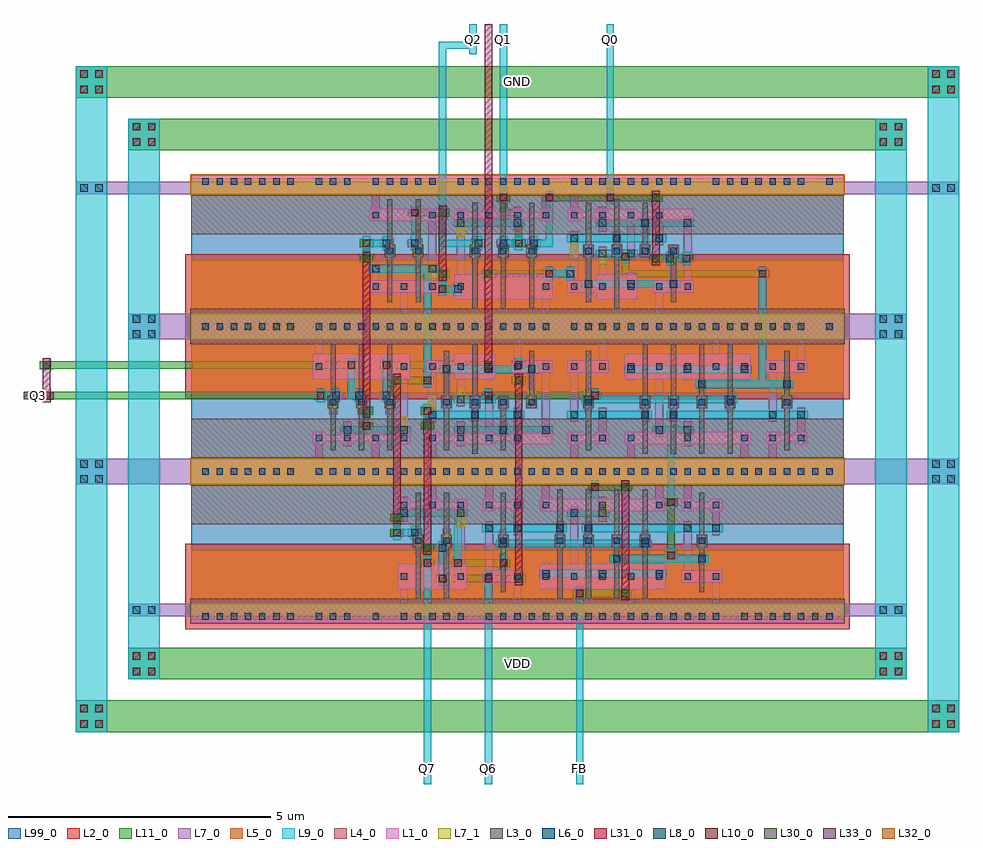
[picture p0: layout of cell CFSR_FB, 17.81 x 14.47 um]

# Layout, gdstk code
from math import pi, radians
import gdstk
lib = gdstk.Library(unit=1e-6, precision=5e-10)
def R(c, l, rs):  # rectangles x0, y0, x1, y1
    for r in rs: c.add(gdstk.rectangle(r[:2], r[2:], *l))
def A(c, l, x, y, w, h, nx, ny, dx, dy):  # array of equal rectangles
    R(c, l, [(x+i*dx, y+j*dy, x+i*dx+w, y+j*dy+h) for i in range(nx) for j in range(ny)])
L1_0 = (1, 0)
L2_0 = (2, 0)
L3_0 = (3, 0)
L4_0 = (4, 0)
L5_0 = (5, 0)
L6_0 = (6, 0)
L7_0 = (7, 0)
L7_1 = (7, 1)
L8_0 = (8, 0)
L9_0 = (9, 0)
L10_0 = (10, 0)
L11_0 = (11, 0)
L30_0 = (30, 0)
L31_0 = (31, 0)
L32_0 = (32, 0)
L33_0 = (33, 0)
L99_0 = (99, 0)

xor2_tg6 = lib.new_cell('XOR2_TG6')
A(xor2_tg6, L1_0, 0.15, 0.52, 0.24, 0.24, 5, 1, 0.54, 0)
R(xor2_tg6, L1_0, [(0,-0.12,2.7,0.24), (0.39,0.52,0.69,0.76), (1.47,0.52,1.77,0.76), (0.93,0.58,1.23,0.7), (2.01,0.58,2.31,0.7), (1.23,1.76,1.47,2.24), (1.47,1.76,1.77,2.24), (1.77,1.76,2.01,2.24), (0.15,1.88,0.39,2.12), (0.39,1.88,0.69,2.12), (0.69,1.88,0.93,2.12), (2.01,1.88,2.31,2.12), (2.31,1.88,2.55,2.12), (0,2.52,2.7,2.88)])
R(xor2_tg6, L2_0, [(-0.12,1.38,2.82,3)])
A(xor2_tg6, L3_0, 0.44, 1.2, 0.2, 0.24, 4, 1, 0.54, 0)
R(xor2_tg6, L3_0, [(1.57,0.34,1.67,2.42), (1.03,0.4,1.13,1.44), (2.11,0.4,2.21,2.3), (0.49,1.2,0.59,2.3)])
R(xor2_tg6, L4_0, [(0,0.26,2.7,1), (-0.02,2.42,2.72,2.9)])
R(xor2_tg6, L5_0, [(-0.02,-0.14,2.72,0.26), (0,1.5,2.7,2.42)])
A(xor2_tg6, L6_0, 0.21, -0.06, 0.12, 0.12, 9, 2, 0.27, 2.76)
A(xor2_tg6, L6_0, 0.75, 0.58, 0.12, 0.12, 4, 1, 0.54, 0)
A(xor2_tg6, L6_0, 0.48, 1.26, 0.12, 0.12, 4, 1, 0.54, 0)
A(xor2_tg6, L6_0, 0.21, 1.94, 0.12, 0.12, 5, 1, 0.54, 0)
R(xor2_tg6, L7_0, [(0,-0.06,2.7,0.24), (2.355,0,2.505,0.76), (1.815,0.48,1.965,0.96), (0.735,0.52,0.885,1.21), (1.275,0.52,1.425,1.5), (0.195,0.66,0.345,2.12), (1.005,0.66,1.155,1.44), (1.545,0.95,1.695,1.44), (2.355,0.95,2.505,2.12), (0.465,1.2,0.615,2.08), (2.085,1.2,2.235,2.08), (1.815,1.24,1.965,2.12), (1.275,1.73,1.425,2.21), (0.735,1.88,0.885,2.76), (0,2.52,2.7,2.82)])
R(xor2_tg6, L7_1, [(0,0,2.7,0.24), (2.355,1.19,2.505,1.46), (0.465,1.3,0.615,1.57), (1.815,1.3,1.965,1.57), (0,2.52,2.7,2.76)])
A(xor2_tg6, L8_0, 0.2, 0.72, 0.14, 0.14, 3, 1, 0.81, 0)
A(xor2_tg6, L8_0, 0.74, 1.01, 0.14, 0.14, 3, 1, 0.81, 0)
A(xor2_tg6, L8_0, 0.47, 1.88, 0.14, 0.14, 3, 1, 0.81, 0)
R(xor2_tg6, L8_0, [(1.28,1.3,1.42,1.44), (1.82,1.3,1.96,1.44)])
R(xor2_tg6, L9_0, [(0.14,0.715,2.02,0.865), (0.68,1.005,2.56,1.155), (1.22,1.295,2.02,1.445), (0.41,1.875,2.29,2.025)])
R(xor2_tg6, L99_0, [(0,0,2.7,2.76)])
xor2_tg6.add(gdstk.Label('Y', (1.89,1.435), layer=7, texttype=3))
xor2_tg6.add(gdstk.Label('B', (2.43,1.325), layer=7, texttype=3))
xor2_tg6.add(gdstk.Label('A', (0.54,1.435), layer=7, texttype=3))
xor2_tg6.add(gdstk.Label('VDD', (1.35,2.64), layer=7, texttype=3))
xor2_tg6.add(gdstk.Label('GND', (1.35,0.12), layer=7, texttype=3))

xor2_x1 = lib.new_cell('XOR2_X1')
A(xor2_x1, L1_0, 0.15, 0.52, 0.24, 0.24, 9, 1, 0.54, 0)
A(xor2_x1, L1_0, 1.47, 0.52, 0.3, 0.24, 4, 1, 0.54, 0)
A(xor2_x1, L1_0, 1.23, 1.76, 0.24, 0.48, 5, 1, 0.54, 0)
A(xor2_x1, L1_0, 1.47, 1.76, 0.3, 0.48, 4, 1, 0.54, 0)
R(xor2_x1, L1_0, [(0,-0.12,4.86,0.24), (0.39,0.58,0.69,0.7), (4.17,0.58,4.47,0.7), (0.15,1.88,0.39,2.12), (0.39,1.88,0.69,2.12), (0.69,1.88,0.93,2.12), (3.93,1.88,4.17,2.12), (4.17,1.88,4.47,2.12), (4.47,1.88,4.71,2.12), (0,2.52,4.86,2.88)])
R(xor2_x1, L2_0, [(-0.12,1.38,4.98,3)])
A(xor2_x1, L3_0, 1.57, 0.34, 0.1, 2.08, 4, 1, 0.54, 0)
A(xor2_x1, L3_0, 1.52, 1.2, 0.2, 0.24, 4, 1, 0.54, 0)
R(xor2_x1, L3_0, [(0.49,0.4,0.59,2.3), (4.27,0.4,4.37,2.3), (0.44,1.2,0.64,1.44), (4.22,1.2,4.42,1.44)])
R(xor2_x1, L4_0, [(0,0.26,4.86,1), (-0.02,2.42,4.88,2.9)])
R(xor2_x1, L5_0, [(-0.02,-0.14,4.88,0.26), (0,1.5,4.86,2.42)])
A(xor2_x1, L6_0, 0.21, -0.06, 0.12, 0.12, 17, 2, 0.27, 2.76)
A(xor2_x1, L6_0, 0.21, 0.58, 0.12, 0.12, 3, 1, 0.54, 0)
A(xor2_x1, L6_0, 3.45, 0.58, 0.12, 0.12, 3, 1, 0.54, 0)
A(xor2_x1, L6_0, 1.56, 1.26, 0.12, 0.12, 4, 1, 0.54, 0)
A(xor2_x1, L6_0, 0.21, 1.94, 0.12, 0.12, 9, 1, 0.54, 0)
R(xor2_x1, L6_0, [(2.37,0.58,2.49,0.7), (0.48,1.26,0.6,1.38), (4.26,1.26,4.38,1.38)])
A(xor2_x1, L7_0, 1.275, 1.73, 0.15, 0.48, 3, 1, 1.08, 0)
R(xor2_x1, L7_0, [(0,-0.06,4.86,0.24), (0.195,0,0.345,0.76), (1.275,0,1.425,0.76), (3.435,0,3.585,0.76), (3.975,0,4.125,0.76), (2.355,0.48,2.505,0.96), (0.735,0.52,0.885,1.21), (4.515,0.52,4.665,1.21), (1.815,0.66,1.965,2.12), (0.195,0.95,0.345,2.12), (1.545,0.95,1.695,1.44), (2.085,0.95,2.235,1.44), (3.975,0.95,4.125,2.12), (0.465,1.11,0.615,1.59), (3.165,1.11,3.315,1.59), (2.625,1.2,2.775,1.79), (4.245,1.2,4.395,1.79), (0.735,1.88,0.885,2.76), (2.895,1.88,3.045,2.76), (4.515,1.88,4.665,2.76), (0,2.52,4.86,2.82)])
R(xor2_x1, L7_1, [(0,0,4.86,0.24), (2.355,0.59,2.505,0.86), (0.465,1.3,0.615,1.57), (4.245,1.3,4.395,1.57), (0,2.52,4.86,2.76)])
A(xor2_x1, L8_0, 1.28, 1.88, 0.14, 0.14, 3, 1, 1.08, 0)
R(xor2_x1, L8_0, [(1.82,0.72,1.96,0.86), (2.36,0.72,2.5,0.86), (0.2,1.01,0.34,1.15), (0.74,1.01,0.88,1.15), (1.55,1.01,1.69,1.15), (2.09,1.01,2.23,1.15), (3.98,1.01,4.12,1.15), (4.52,1.01,4.66,1.15), (0.47,1.3,0.61,1.44), (3.17,1.3,3.31,1.44), (2.63,1.59,2.77,1.73), (4.25,1.59,4.39,1.73)])
R(xor2_x1, L9_0, [(1.76,0.715,2.56,0.865), (0.14,1.005,1.75,1.155), (2.03,1.005,4.72,1.155), (0.41,1.295,3.37,1.445), (2.57,1.585,4.45,1.735), (1.22,1.875,3.64,2.025)])
R(xor2_x1, L99_0, [(0,0,4.86,2.76)])
xor2_x1.add(gdstk.Label('Y', (2.43,0.725), layer=7, texttype=3))
xor2_x1.add(gdstk.Label('B', (0.54,1.435), layer=7, texttype=3))
xor2_x1.add(gdstk.Label('A', (4.32,1.435), layer=7, texttype=3))
xor2_x1.add(gdstk.Label('VDD', (2.43,2.64), layer=7, texttype=3))
xor2_x1.add(gdstk.Label('GND', (2.43,0.12), layer=7, texttype=3))

nor3_x1 = lib.new_cell('NOR3_X1')
A(nor3_x1, L1_0, 0.15, 0.52, 0.24, 0.24, 4, 1, 0.54, 0)
A(nor3_x1, L1_0, 0.39, 0.58, 0.3, 0.12, 3, 1, 0.54, 0)
A(nor3_x1, L1_0, 0.15, 1.76, 0.24, 0.48, 4, 1, 0.54, 0)
A(nor3_x1, L1_0, 0.39, 1.76, 0.3, 0.48, 3, 1, 0.54, 0)
R(nor3_x1, L1_0, [(0,-0.12,2.16,0.24), (0,2.52,2.16,2.88)])
R(nor3_x1, L2_0, [(-0.12,1.38,2.28,3)])
A(nor3_x1, L3_0, 0.49, 0.4, 0.1, 2.02, 3, 1, 0.54, 0)
A(nor3_x1, L3_0, 0.44, 1.2, 0.2, 0.24, 3, 1, 0.54, 0)
R(nor3_x1, L4_0, [(0,0.26,2.16,1), (-0.02,2.42,2.18,2.9)])
R(nor3_x1, L5_0, [(-0.02,-0.14,2.18,0.26), (0,1.5,2.16,2.42)])
A(nor3_x1, L6_0, 0.21, -0.06, 0.12, 0.12, 7, 2, 0.27, 2.76)
A(nor3_x1, L6_0, 0.21, 0.58, 0.12, 0.12, 4, 1, 0.54, 0)
A(nor3_x1, L6_0, 0.48, 1.26, 0.12, 0.12, 3, 1, 0.54, 0)
R(nor3_x1, L6_0, [(0.21,1.94,0.33,2.06), (1.83,1.94,1.95,2.06)])
A(nor3_x1, L7_0, 0.465, 1.08, 0.15, 0.48, 3, 1, 0.54, 0)
R(nor3_x1, L7_0, [(0,-0.06,2.16,0.24), (0.735,0,0.885,0.76), (1.815,0,1.965,0.76), (1.275,0.48,1.425,0.96), (0.195,0.52,0.345,2.12), (1.815,1.88,1.965,2.76), (0,2.52,2.16,2.82)])
A(nor3_x1, L7_1, 0.465, 1.19, 0.15, 0.27, 3, 1, 0.54, 0)
R(nor3_x1, L7_1, [(0,0,2.16,0.24), (0.195,0.78,0.345,1.05), (0,2.52,2.16,2.76)])
R(nor3_x1, L8_0, [(0.2,0.72,0.34,0.86), (1.28,0.72,1.42,0.86)])
R(nor3_x1, L9_0, [(0.14,0.715,1.48,0.865)])
R(nor3_x1, L99_0, [(0,0,2.16,2.76)])
nor3_x1.add(gdstk.Label('Y', (0.27,0.915), layer=7, texttype=3))
nor3_x1.add(gdstk.Label('C', (0.54,1.325), layer=7, texttype=3))
nor3_x1.add(gdstk.Label('B', (1.08,1.325), layer=7, texttype=3))
nor3_x1.add(gdstk.Label('A', (1.62,1.325), layer=7, texttype=3))
nor3_x1.add(gdstk.Label('VDD', (1.08,2.64), layer=7, texttype=3))
nor3_x1.add(gdstk.Label('GND', (1.08,0.12), layer=7, texttype=3))

nand2_x1 = lib.new_cell('NAND2_X1')
A(nand2_x1, L1_0, 0.15, 0.52, 0.24, 0.24, 3, 2, 0.54, 1.36)
R(nand2_x1, L1_0, [(0,-0.12,1.62,0.24), (0.39,0.52,0.69,0.76), (0.93,0.52,1.23,0.76), (0.39,1.88,0.69,2.12), (0.93,1.88,1.23,2.12), (0,2.52,1.62,2.88)])
R(nand2_x1, L2_0, [(-0.12,1.38,1.74,3)])
R(nand2_x1, L3_0, [(0.49,0.34,0.59,2.3), (1.03,0.34,1.13,2.3), (0.44,1.2,0.64,1.44), (0.98,1.2,1.18,1.44)])
R(nand2_x1, L4_0, [(0,0.26,1.62,1), (-0.02,2.42,1.64,2.9)])
R(nand2_x1, L5_0, [(-0.02,-0.14,1.64,0.26), (0,1.5,1.62,2.42)])
A(nand2_x1, L6_0, 0.21, -0.06, 0.12, 0.12, 5, 2, 0.27, 2.76)
A(nand2_x1, L6_0, 0.21, 1.94, 0.12, 0.12, 3, 1, 0.54, 0)
R(nand2_x1, L6_0, [(0.21,0.58,0.33,0.7), (1.29,0.58,1.41,0.7), (0.48,1.26,0.6,1.38), (1.02,1.26,1.14,1.38)])
R(nand2_x1, L7_0, [(0,-0.06,1.62,0.24), (1.275,0,1.425,0.76), (0.195,0.52,0.345,2.12), (0.465,1.08,0.615,1.56), (1.005,1.08,1.155,1.56), (1.275,1.53,1.425,2.12), (0.735,1.88,0.885,2.76), (0,2.52,1.62,2.82)])
R(nand2_x1, L7_1, [(0,0,1.62,0.24), (0.465,1.17,0.615,1.44), (1.005,1.17,1.155,1.44), (0.195,1.58,0.345,1.85), (0,2.52,1.62,2.76)])
R(nand2_x1, L8_0, [(0.2,1.59,0.34,1.73), (1.28,1.59,1.42,1.73)])
R(nand2_x1, L9_0, [(0.14,1.585,1.48,1.735)])
R(nand2_x1, L99_0, [(0,0,1.62,2.76)])
nand2_x1.add(gdstk.Label('Y', (0.27,1.715), layer=7, texttype=3))
nand2_x1.add(gdstk.Label('B', (1.08,1.305), layer=7, texttype=3))
nand2_x1.add(gdstk.Label('A', (0.54,1.305), layer=7, texttype=3))
nand2_x1.add(gdstk.Label('VDD', (0.81,2.64), layer=7, texttype=3))
nand2_x1.add(gdstk.Label('GND', (0.81,0.12), layer=7, texttype=3))

nor2_x1 = lib.new_cell('NOR2_X1')
A(nor2_x1, L1_0, 0.15, 0.52, 0.24, 0.24, 3, 1, 0.54, 0)
A(nor2_x1, L1_0, 0.15, 1.76, 0.24, 0.48, 3, 1, 0.54, 0)
R(nor2_x1, L1_0, [(0,-0.12,1.62,0.24), (0.39,0.58,0.69,0.7), (0.93,0.58,1.23,0.7), (0.39,1.76,0.69,2.24), (0.93,1.76,1.23,2.24), (0,2.52,1.62,2.88)])
R(nor2_x1, L2_0, [(-0.12,1.38,1.74,3)])
R(nor2_x1, L3_0, [(0.49,0.4,0.59,2.42), (1.03,0.4,1.13,2.42), (0.44,1.2,0.64,1.44), (0.98,1.2,1.18,1.44)])
R(nor2_x1, L4_0, [(0,0.26,1.62,1), (-0.02,2.42,1.64,2.9)])
R(nor2_x1, L5_0, [(-0.02,-0.14,1.64,0.26), (0,1.5,1.62,2.42)])
A(nor2_x1, L6_0, 0.21, -0.06, 0.12, 0.12, 5, 2, 0.27, 2.76)
A(nor2_x1, L6_0, 0.21, 0.58, 0.12, 0.12, 3, 1, 0.54, 0)
R(nor2_x1, L6_0, [(0.48,1.26,0.6,1.38), (1.02,1.26,1.14,1.38), (0.21,1.94,0.33,2.06), (1.29,1.94,1.41,2.06)])
R(nor2_x1, L7_0, [(0,-0.06,1.62,0.24), (0.735,0,0.885,0.76), (1.275,0.48,1.425,0.96), (0.195,0.52,0.345,2.12), (0.465,1.08,0.615,1.56), (1.005,1.08,1.155,1.56), (1.275,1.88,1.425,2.76), (0,2.52,1.62,2.82)])
R(nor2_x1, L7_1, [(0,0,1.62,0.24), (0.195,0.78,0.345,1.05), (0.465,1.19,0.615,1.46), (1.005,1.19,1.155,1.46), (0,2.52,1.62,2.76)])
R(nor2_x1, L8_0, [(0.2,0.72,0.34,0.86), (1.28,0.72,1.42,0.86)])
R(nor2_x1, L9_0, [(0.14,0.715,1.48,0.865)])
R(nor2_x1, L99_0, [(0,0,1.62,2.76)])
nor2_x1.add(gdstk.Label('Y', (0.27,0.915), layer=7, texttype=3))
nor2_x1.add(gdstk.Label('B', (0.54,1.325), layer=7, texttype=3))
nor2_x1.add(gdstk.Label('A', (1.08,1.325), layer=7, texttype=3))
nor2_x1.add(gdstk.Label('VDD', (0.81,2.64), layer=7, texttype=3))
nor2_x1.add(gdstk.Label('GND', (0.81,0.12), layer=7, texttype=3))

fill8 = lib.new_cell('FILL8')
R(fill8, L1_0, [(0,-0.12,2.16,0.24), (0,2.52,2.16,2.88)])
R(fill8, L2_0, [(-0.12,1.38,2.28,3)])
R(fill8, L4_0, [(0,0.26,2.16,1), (-0.02,2.42,2.18,2.9)])
R(fill8, L5_0, [(-0.02,-0.14,2.18,0.26), (0,1.5,2.16,2.42)])
A(fill8, L6_0, 0.21, -0.06, 0.12, 0.12, 7, 2, 0.27, 2.76)
R(fill8, L7_0, [(0,-0.06,2.16,0.24), (0,2.52,2.16,2.82)])
R(fill8, L7_1, [(0,0,2.16,0.24), (0,2.52,2.16,2.76)])
R(fill8, L99_0, [(0,0,2.16,2.76)])
fill8.add(gdstk.Label('VDD', (1.08,2.64), layer=7, texttype=3))
fill8.add(gdstk.Label('GND', (1.08,0.12), layer=7, texttype=3))

fill4 = lib.new_cell('FILL4')
R(fill4, L1_0, [(0,-0.12,1.08,0.24), (0,2.52,1.08,2.88)])
R(fill4, L2_0, [(-0.12,1.38,1.2,3)])
R(fill4, L4_0, [(0,0.26,1.08,1), (-0.02,2.42,1.1,2.9)])
R(fill4, L5_0, [(-0.02,-0.14,1.1,0.26), (0,1.5,1.08,2.42)])
A(fill4, L6_0, 0.21, -0.06, 0.12, 0.12, 3, 2, 0.27, 2.76)
R(fill4, L7_0, [(0,-0.06,1.08,0.24), (0,2.52,1.08,2.82)])
R(fill4, L7_1, [(0,0,1.08,0.24), (0,2.52,1.08,2.76)])
R(fill4, L99_0, [(0,0,1.08,2.76)])
fill4.add(gdstk.Label('VDD', (0.54,2.64), layer=7, texttype=3))
fill4.add(gdstk.Label('GND', (0.54,0.12), layer=7, texttype=3))

fill2 = lib.new_cell('FILL2')
R(fill2, L1_0, [(0,-0.12,0.54,0.24), (0,2.52,0.54,2.88)])
R(fill2, L2_0, [(-0.12,1.38,0.66,3)])
R(fill2, L4_0, [(0,0.26,0.54,1), (-0.02,2.42,0.56,2.9)])
R(fill2, L5_0, [(-0.02,-0.14,0.56,0.26), (0,1.5,0.54,2.42)])
R(fill2, L6_0, [(0.21,-0.06,0.33,0.06), (0.21,2.7,0.33,2.82)])
R(fill2, L7_0, [(0,-0.06,0.54,0.24), (0,2.52,0.54,2.82)])
R(fill2, L7_1, [(0,0,0.54,0.24), (0,2.52,0.54,2.76)])
R(fill2, L99_0, [(0,0,0.54,2.76)])
fill2.add(gdstk.Label('VDD', (0.27,2.64), layer=7, texttype=3))
fill2.add(gdstk.Label('GND', (0.27,0.12), layer=7, texttype=3))

m3_m2_vh = lib.new_cell('M3_M2_VH')
R(m3_m2_vh, L9_0, [(-0.075,-0.13,0.075,0.13)])
R(m3_m2_vh, L10_0, [(-0.07,-0.07,0.07,0.07)])
R(m3_m2_vh, L11_0, [(-0.13,-0.075,0.13,0.075)])

m2_m1_hv = lib.new_cell('M2_M1_HV')
R(m2_m1_hv, L7_0, [(-0.13,-0.075,0.13,0.075)])
R(m2_m1_hv, L8_0, [(-0.07,-0.07,0.07,0.07)])
R(m2_m1_hv, L9_0, [(-0.075,-0.13,0.075,0.13)])

m4_m3_hv = lib.new_cell('M4_M3_HV')
R(m4_m3_hv, L11_0, [(-0.13,-0.075,0.13,0.075)])
R(m4_m3_hv, L30_0, [(-0.07,-0.07,0.07,0.07)])
R(m4_m3_hv, L31_0, [(-0.075,-0.13,0.075,0.13)])

m5_m4_vh = lib.new_cell('M5_M4_VH')
R(m5_m4_vh, L31_0, [(-0.075,-0.13,0.075,0.13)])
R(m5_m4_vh, L32_0, [(-0.07,-0.07,0.07,0.07)])
R(m5_m4_vh, L33_0, [(-0.13,-0.075,0.13,0.075)])

cfsr_fb_via0 = lib.new_cell('CFSR_FB_VIA0')
R(cfsr_fb_via0, L7_0, [(-0.3,-0.24,0.3,0.24)])
R(cfsr_fb_via0, L8_0, [(-0.215,-0.215,-0.075,-0.075), (0.075,-0.215,0.215,-0.075), (-0.215,0.075,-0.075,0.215), (0.075,0.075,0.215,0.215)])
R(cfsr_fb_via0, L9_0, [(-0.3,-0.24,0.3,0.24)])

cfsr_fb_via1 = lib.new_cell('CFSR_FB_VIA1')
R(cfsr_fb_via1, L9_0, [(-0.3,-0.3,0.3,0.3)])
R(cfsr_fb_via1, L10_0, [(-0.215,-0.215,-0.075,-0.075), (0.075,-0.215,0.215,-0.075), (-0.215,0.075,-0.075,0.215), (0.075,0.075,0.215,0.215)])
R(cfsr_fb_via1, L11_0, [(-0.3,-0.3,0.3,0.3)])

cfsr_fb_via2 = lib.new_cell('CFSR_FB_VIA2')
R(cfsr_fb_via2, L7_0, [(-0.3,-0.12,0.3,0.12)])
R(cfsr_fb_via2, L8_0, [(-0.215,-0.07,-0.075,0.07), (0.075,-0.07,0.215,0.07)])
R(cfsr_fb_via2, L9_0, [(-0.3,-0.12,0.3,0.12)])

cfsr_fb = lib.new_cell('CFSR_FB')
R(cfsr_fb, L7_0, [(1.99,3.19,3.19,3.43), (3.19,3.19,15.61,3.43), (15.61,3.19,16.81,3.43), (0.99,5.71,3.19,6.19), (3.19,5.71,15.61,6.19), (15.61,5.71,17.81,6.19), (1.99,8.47,3.19,8.95), (3.19,8.47,15.61,8.95), (15.61,8.47,16.81,8.95), (0.99,11.23,3.19,11.47), (3.19,11.23,15.61,11.47), (15.61,11.23,17.81,11.47)])
R(cfsr_fb, L9_0, [(7.615,0,7.755,0.575), (8.775,0,8.915,0.575), (10.515,0,10.655,0.575), (0.99,0.99,1.59,13.67), (17.21,0.99,17.81,13.67), (1.99,1.99,2.59,12.67), (16.21,1.99,16.81,12.67), (8.485,13.895,8.625,14.47), (9.065,13.895,9.205,14.47), (11.095,13.895,11.235,14.47)])
R(cfsr_fb, L11_0, [(0.99,0.99,17.81,1.59), (1.99,1.99,16.81,2.59), (1.99,1.99,16.81,2.59), (0,7.325,0.575,7.465), (1.99,12.07,16.81,12.67), (0.99,13.07,17.81,13.67), (0.99,13.07,17.81,13.67)])
R(cfsr_fb, L31_0, [(8.775,13.895,8.915,14.47)])
R(cfsr_fb, L33_0, [(0,7.325,0.575,7.465)])
cfsr_fb.add(gdstk.FlexPath([(10.005,11.165),(11.165,11.165)], 0.14, ends="extended", simple_path=True, layer=11, datatype=0))  # L11_0
cfsr_fb.add(gdstk.FlexPath([(10.005,10.295),(10.005,11.165)], 0.14, ends="extended", simple_path=True, layer=9, datatype=0))  # L9_0
cfsr_fb.add(gdstk.FlexPath([(9.715,10.295),(10.005,10.295)], 0.14, ends="extended", simple_path=True, layer=9, datatype=0))  # L9_0
cfsr_fb.add(gdstk.FlexPath([(12.305,10.005),(12.615,10.005)], 0.14, ends="extended", simple_path=True, layer=9, datatype=0))  # L9_0
cfsr_fb.add(gdstk.FlexPath([(12.035,10.005),(12.615,10.005)], 0.14, ends="extended", simple_path=True, layer=11, datatype=0))  # L11_0
cfsr_fb.add(gdstk.FlexPath([(12.035,10.005),(12.035,11.165)], 0.14, ends="extended", simple_path=True, layer=31, datatype=0))  # L31_0
cfsr_fb.add(gdstk.FlexPath([(11.165,11.165),(12.035,11.165)], 0.14, ends="extended", simple_path=True, layer=11, datatype=0))  # L11_0
cfsr_fb.add(gdstk.FlexPath([(11.165,11.165),(11.165,14.065)], 0.14, ends=(0.07, 0), simple_path=True, layer=9, datatype=0))  # L9_0
cfsr_fb.add(gdstk.FlexPath([(9.135,11.165),(9.135,14.065)], 0.14, ends=(0.07, 0), simple_path=True, layer=9, datatype=0))  # L9_0
cfsr_fb.add(gdstk.FlexPath([(9.135,10.875),(9.135,11.165)], 0.14, ends="extended", simple_path=True, layer=11, datatype=0))  # L11_0
cfsr_fb.add(gdstk.FlexPath([(9.135,10.875),(9.425,10.875)], 0.14, ends="extended", simple_path=True, layer=11, datatype=0))  # L11_0
cfsr_fb.add(gdstk.FlexPath([(9.425,10.295),(9.425,10.875)], 0.14, ends="extended", simple_path=True, layer=11, datatype=0))  # L11_0
cfsr_fb.add(gdstk.FlexPath([(9.135,10.295),(9.425,10.295)], 0.14, ends="extended", simple_path=True, layer=9, datatype=0))  # L9_0
cfsr_fb.add(gdstk.FlexPath([(7.975,10.295),(7.975,14.065)], 0.14, ends="extended", simple_path=True, layer=9, datatype=0))  # L9_0
cfsr_fb.add(gdstk.FlexPath([(7.975,14.065),(8.555,14.065)], 0.14, ends=(0.07, 0), simple_path=True, layer=9, datatype=0))  # L9_0
cfsr_fb.add(gdstk.FlexPath([(7.975,10.295),(8.655,10.295)], 0.14, ends="extended", simple_path=True, layer=9, datatype=0))  # L9_0
cfsr_fb.add(gdstk.FlexPath([(0.435,7.395),(5.655,7.395)], 0.14, ends=(0, 0.07), simple_path=True, layer=11, datatype=0))  # L11_0
cfsr_fb.add(gdstk.FlexPath([(5.655,7.395),(5.945,7.395)], 0.14, ends="extended", simple_path=True, layer=9, datatype=0))  # L9_0
cfsr_fb.add(gdstk.FlexPath([(0.435,7.395),(0.435,7.975)], 0.14, ends="extended", simple_path=True, layer=31, datatype=0))  # L31_0
cfsr_fb.add(gdstk.FlexPath([(0.435,7.975),(6.235,7.975)], 0.14, ends="extended", simple_path=True, layer=11, datatype=0))  # L11_0
cfsr_fb.add(gdstk.FlexPath([(6.235,7.395),(6.235,7.975)], 0.14, ends="extended", simple_path=True, layer=9, datatype=0))  # L9_0
cfsr_fb.add(gdstk.FlexPath([(6.235,7.395),(6.38,7.395)], 0.14, ends="extended", simple_path=True, layer=9, datatype=0))  # L9_0
cfsr_fb.add(gdstk.FlexPath([(8.845,7.975),(8.845,9.715)], 0.14, ends="extended", simple_path=True, layer=31, datatype=0))  # L31_0
cfsr_fb.add(gdstk.FlexPath([(6.905,7.975),(8.845,7.975)], 0.14, ends="extended", simple_path=True, layer=11, datatype=0))  # L11_0
cfsr_fb.add(gdstk.FlexPath([(6.905,7.395),(6.905,7.975)], 0.14, ends="extended", simple_path=True, layer=9, datatype=0))  # L9_0
cfsr_fb.add(gdstk.FlexPath([(10.005,9.715),(10.405,9.715)], 0.14, ends="extended", simple_path=True, layer=9, datatype=0))  # L9_0
cfsr_fb.add(gdstk.FlexPath([(8.845,9.715),(10.005,9.715)], 0.14, ends="extended", simple_path=True, layer=11, datatype=0))  # L11_0
cfsr_fb.add(gdstk.FlexPath([(8.845,9.715),(8.845,14.065)], 0.14, ends=(0.07, 0), simple_path=True, layer=31, datatype=0))  # L31_0
cfsr_fb.add(gdstk.FlexPath([(7.975,3.915),(8.845,3.915)], 0.14, ends="extended", simple_path=True, layer=11, datatype=0))  # L11_0
cfsr_fb.add(gdstk.FlexPath([(7.975,3.915),(7.975,4.495)], 0.14, ends="extended", simple_path=True, layer=9, datatype=0))  # L9_0
cfsr_fb.add(gdstk.FlexPath([(9.425,7.685),(9.425,7.975)], 0.14, ends="extended", simple_path=True, layer=11, datatype=0))  # L11_0
cfsr_fb.add(gdstk.FlexPath([(9.425,3.915),(9.425,7.685)], 0.14, ends="extended", simple_path=True, layer=31, datatype=0))  # L31_0
cfsr_fb.add(gdstk.FlexPath([(8.845,3.915),(9.425,3.915)], 0.14, ends="extended", simple_path=True, layer=11, datatype=0))  # L11_0
cfsr_fb.add(gdstk.FlexPath([(8.845,0.435),(8.845,3.915)], 0.14, ends=(0, 0.07), simple_path=True, layer=9, datatype=0))  # L9_0
cfsr_fb.add(gdstk.FlexPath([(7.685,6.815),(7.685,7.105)], 0.14, ends="extended", simple_path=True, layer=11, datatype=0))  # L11_0
cfsr_fb.add(gdstk.FlexPath([(7.685,4.495),(7.685,6.815)], 0.14, ends="extended", simple_path=True, layer=31, datatype=0))  # L31_0
cfsr_fb.add(gdstk.FlexPath([(7.685,4.205),(7.685,4.495)], 0.14, ends="extended", simple_path=True, layer=11, datatype=0))  # L11_0
cfsr_fb.add(gdstk.FlexPath([(7.685,0.435),(7.685,4.205)], 0.14, ends=(0, 0.07), simple_path=True, layer=9, datatype=0))  # L9_0
cfsr_fb.add(gdstk.FlexPath([(10.875,5.22),(10.875,5.655)], 0.14, ends=(0, 0.07), simple_path=True, layer=9, datatype=0))  # L9_0
cfsr_fb.add(gdstk.FlexPath([(10.875,5.655),(11.455,5.655)], 0.14, ends="extended", simple_path=True, layer=11, datatype=0))  # L11_0
cfsr_fb.add(gdstk.FlexPath([(11.455,3.625),(11.455,5.655)], 0.14, ends="extended", simple_path=True, layer=31, datatype=0))  # L31_0
cfsr_fb.add(gdstk.FlexPath([(10.585,3.625),(11.455,3.625)], 0.14, ends="extended", simple_path=True, layer=11, datatype=0))  # L11_0
cfsr_fb.add(gdstk.FlexPath([(10.585,0.435),(10.585,3.625)], 0.14, ends=(0, 0.07), simple_path=True, layer=9, datatype=0))  # L9_0
cfsr_fb.add(gdstk.FlexPath([(11.455,9.715),(11.455,10.04)], 0.14, ends="extended", simple_path=True, layer=11, datatype=0))  # L11_0
cfsr_fb.add(gdstk.FlexPath([(11.455,9.715),(14.065,9.715)], 0.14, ends="extended", simple_path=True, layer=11, datatype=0))  # L11_0
cfsr_fb.add(gdstk.FlexPath([(14.065,7.685),(14.065,9.715)], 0.14, ends=(0, 0.07), simple_path=True, layer=9, datatype=0))  # L9_0
cfsr_fb.add(gdstk.FlexPath([(8.845,7.395),(10.875,7.395)], 0.14, ends="extended", simple_path=True, layer=11, datatype=0))  # L11_0
cfsr_fb.add(gdstk.FlexPath([(7.685,7.685),(7.685,9.86)], 0.14, ends=(0.07, 0), simple_path=True, layer=9, datatype=0))  # L9_0
cfsr_fb.add(gdstk.FlexPath([(7.105,7.685),(7.685,7.685)], 0.14, ends="extended", simple_path=True, layer=11, datatype=0))  # L11_0
cfsr_fb.add(gdstk.FlexPath([(7.105,5.075),(7.105,7.685)], 0.14, ends="extended", simple_path=True, layer=31, datatype=0))  # L31_0
cfsr_fb.add(gdstk.FlexPath([(7.105,4.785),(7.105,5.075)], 0.14, ends="extended", simple_path=True, layer=11, datatype=0))  # L11_0
cfsr_fb.add(gdstk.FlexPath([(7.105,4.785),(7.445,4.785)], 0.14, ends="extended", simple_path=True, layer=9, datatype=0))  # L9_0
cfsr_fb.add(gdstk.FlexPath([(7.975,9.425),(8.265,9.425)], 0.14, ends="extended", simple_path=True, layer=9, datatype=0))  # L9_0
cfsr_fb.add(gdstk.FlexPath([(7.975,9.425),(7.975,9.715)], 0.14, ends="extended", simple_path=True, layer=11, datatype=0))  # L11_0
cfsr_fb.add(gdstk.FlexPath([(7.975,9.715),(7.975,10.875)], 0.14, ends="extended", simple_path=True, layer=31, datatype=0))  # L31_0
cfsr_fb.add(gdstk.FlexPath([(7.445,10.875),(7.975,10.875)], 0.14, ends="extended", simple_path=True, layer=11, datatype=0))  # L11_0
cfsr_fb.add(gdstk.FlexPath([(7.445,10.295),(7.445,10.875)], 0.14, ends="extended", simple_path=True, layer=9, datatype=0))  # L9_0
cfsr_fb.add(gdstk.FlexPath([(6.525,6.815),(6.525,7.105)], 0.14, ends="extended", simple_path=True, layer=11, datatype=0))  # L11_0
cfsr_fb.add(gdstk.FlexPath([(6.525,7.105),(6.525,10.005)], 0.14, ends="extended", simple_path=True, layer=31, datatype=0))  # L31_0
cfsr_fb.add(gdstk.FlexPath([(6.525,10.005),(6.525,10.295)], 0.14, ends="extended", simple_path=True, layer=11, datatype=0))  # L11_0
cfsr_fb.add(gdstk.FlexPath([(6.525,10.295),(6.905,10.295)], 0.14, ends="extended", simple_path=True, layer=9, datatype=0))  # L9_0
cfsr_fb.add(gdstk.FlexPath([(12.325,5.365),(12.325,6.67)], 0.14, ends=(0.07, 0), simple_path=True, layer=9, datatype=0))  # L9_0
cfsr_fb.add(gdstk.FlexPath([(12.325,4.35),(12.325,5.365)], 0.14, ends="extended", simple_path=True, layer=11, datatype=0))  # L11_0
cfsr_fb.add(gdstk.FlexPath([(8.265,4.205),(8.265,5.22)], 0.14, ends=(0.07, 0), simple_path=True, layer=9, datatype=0))  # L9_0
cfsr_fb.add(gdstk.FlexPath([(8.265,4.205),(9.135,4.205)], 0.14, ends="extended", simple_path=True, layer=11, datatype=0))  # L11_0
cfsr_fb.add(gdstk.FlexPath([(9.135,4.205),(9.135,4.52)], 0.14, ends=(0.07, 0), simple_path=True, layer=9, datatype=0))  # L9_0
cfsr_fb.add(gdstk.Reference(xor2_tg6, (12.91,11.47), rotation=pi))
cfsr_fb.add(gdstk.Reference(xor2_tg6, (10.21,5.95), rotation=pi, x_reflection=True))
cfsr_fb.add(gdstk.Reference(xor2_x1, (10.21,5.95)))
cfsr_fb.add(gdstk.Reference(nor3_x1, (8.05,11.47), x_reflection=True))
cfsr_fb.add(gdstk.Reference(nor3_x1, (7.51,5.95), rotation=pi, x_reflection=True))
cfsr_fb.add(gdstk.Reference(nand2_x1, (8.05,11.47), rotation=pi))
cfsr_fb.add(gdstk.Reference(nor2_x1, (8.59,5.95), rotation=pi))
cfsr_fb.add(gdstk.Reference(xor2_x1, (8.59,5.95), x_reflection=True))
cfsr_fb.add(gdstk.Reference(fill8, (3.19,5.95), x_reflection=True))
cfsr_fb.add(gdstk.Reference(fill4, (5.35,5.95), x_reflection=True))
cfsr_fb.add(gdstk.Reference(fill2, (6.43,5.95), x_reflection=True))
cfsr_fb.add(gdstk.Reference(fill8, (13.45,5.95), x_reflection=True))
cfsr_fb.add(gdstk.Reference(fill8, (3.19,5.95)))
cfsr_fb.add(gdstk.Reference(fill2, (15.07,5.95)))
cfsr_fb.add(gdstk.Reference(fill8, (3.19,11.47), x_reflection=True))
cfsr_fb.add(gdstk.Reference(fill4, (5.35,11.47), x_reflection=True))
cfsr_fb.add(gdstk.Reference(fill8, (12.91,11.47), x_reflection=True))
cfsr_fb.add(gdstk.Reference(fill2, (15.07,11.47), x_reflection=True))
cfsr_fb.add(gdstk.Reference(m3_m2_vh, (10.005,11.165)))
cfsr_fb.add(gdstk.Reference(m2_m1_hv, (9.715,10.295)))
cfsr_fb.add(gdstk.Reference(m2_m1_hv, (12.305,10.005)))
cfsr_fb.add(gdstk.Reference(m3_m2_vh, (12.615,10.005)))
cfsr_fb.add(gdstk.Reference(m4_m3_hv, (12.035,10.005)))
cfsr_fb.add(gdstk.Reference(m4_m3_hv, (12.035,11.165)))
cfsr_fb.add(gdstk.Reference(m3_m2_vh, (11.165,11.165)))
cfsr_fb.add(gdstk.Reference(m3_m2_vh, (9.135,11.165)))
cfsr_fb.add(gdstk.Reference(m3_m2_vh, (9.425,10.295)))
cfsr_fb.add(gdstk.Reference(m2_m1_hv, (9.135,10.295)))
cfsr_fb.add(gdstk.Reference(m2_m1_hv, (8.655,10.295)))
cfsr_fb.add(gdstk.Reference(m3_m2_vh, (5.655,7.395)))
cfsr_fb.add(gdstk.Reference(m2_m1_hv, (5.945,7.395)))
cfsr_fb.add(gdstk.Reference(m5_m4_vh, (0.435,7.395)))
cfsr_fb.add(gdstk.Reference(m4_m3_hv, (0.435,7.975)))
cfsr_fb.add(gdstk.Reference(m3_m2_vh, (6.235,7.975)))
cfsr_fb.add(gdstk.Reference(m2_m1_hv, (6.38,7.395)))
cfsr_fb.add(gdstk.Reference(m4_m3_hv, (8.845,7.975)))
cfsr_fb.add(gdstk.Reference(m3_m2_vh, (6.905,7.975)))
cfsr_fb.add(gdstk.Reference(m2_m1_hv, (6.905,7.395)))
cfsr_fb.add(gdstk.Reference(m2_m1_hv, (10.405,9.715)))
cfsr_fb.add(gdstk.Reference(m3_m2_vh, (10.005,9.715)))
cfsr_fb.add(gdstk.Reference(m4_m3_hv, (8.845,9.715)))
cfsr_fb.add(gdstk.Reference(m3_m2_vh, (7.975,3.915)))
cfsr_fb.add(gdstk.Reference(m2_m1_hv, (7.975,4.495)))
cfsr_fb.add(gdstk.Reference(m3_m2_vh, (9.425,7.975)))
cfsr_fb.add(gdstk.Reference(m4_m3_hv, (9.425,7.685)))
cfsr_fb.add(gdstk.Reference(m4_m3_hv, (9.425,3.915)))
cfsr_fb.add(gdstk.Reference(m3_m2_vh, (8.845,3.915)))
cfsr_fb.add(gdstk.Reference(m3_m2_vh, (7.685,7.105)))
cfsr_fb.add(gdstk.Reference(m4_m3_hv, (7.685,6.815)))
cfsr_fb.add(gdstk.Reference(m4_m3_hv, (7.685,4.495)))
cfsr_fb.add(gdstk.Reference(m3_m2_vh, (7.685,4.205)))
cfsr_fb.add(gdstk.Reference(m3_m2_vh, (10.875,5.655)))
cfsr_fb.add(gdstk.Reference(m4_m3_hv, (11.455,5.655)))
cfsr_fb.add(gdstk.Reference(m4_m3_hv, (11.455,3.625)))
cfsr_fb.add(gdstk.Reference(m3_m2_vh, (10.585,3.625)))
cfsr_fb.add(gdstk.Reference(m3_m2_vh, (11.455,10.04)))
cfsr_fb.add(gdstk.Reference(m3_m2_vh, (14.065,9.715)))
cfsr_fb.add(gdstk.Reference(m3_m2_vh, (8.845,7.395)))
cfsr_fb.add(gdstk.Reference(m3_m2_vh, (10.875,7.395)))
cfsr_fb.add(gdstk.Reference(m3_m2_vh, (7.685,7.685)))
cfsr_fb.add(gdstk.Reference(m4_m3_hv, (7.105,7.685)))
cfsr_fb.add(gdstk.Reference(m4_m3_hv, (7.105,5.075)))
cfsr_fb.add(gdstk.Reference(m3_m2_vh, (7.105,4.785)))
cfsr_fb.add(gdstk.Reference(m2_m1_hv, (7.445,4.785)))
cfsr_fb.add(gdstk.Reference(m2_m1_hv, (8.265,9.425)))
cfsr_fb.add(gdstk.Reference(m3_m2_vh, (7.975,9.425)))
cfsr_fb.add(gdstk.Reference(m4_m3_hv, (7.975,9.715)))
cfsr_fb.add(gdstk.Reference(m4_m3_hv, (7.975,10.875)))
cfsr_fb.add(gdstk.Reference(m3_m2_vh, (7.445,10.875)))
cfsr_fb.add(gdstk.Reference(m2_m1_hv, (7.445,10.295)))
cfsr_fb.add(gdstk.Reference(m3_m2_vh, (6.525,6.815)))
cfsr_fb.add(gdstk.Reference(m4_m3_hv, (6.525,7.105)))
cfsr_fb.add(gdstk.Reference(m4_m3_hv, (6.525,10.005)))
cfsr_fb.add(gdstk.Reference(m3_m2_vh, (6.525,10.295)))
cfsr_fb.add(gdstk.Reference(m2_m1_hv, (6.905,10.295)))
cfsr_fb.add(gdstk.Reference(m3_m2_vh, (12.325,5.365)))
cfsr_fb.add(gdstk.Reference(m3_m2_vh, (12.325,4.35)))
cfsr_fb.add(gdstk.Reference(m3_m2_vh, (8.265,4.205)))
cfsr_fb.add(gdstk.Reference(m3_m2_vh, (9.135,4.205)))
cfsr_fb.add(gdstk.Reference(cfsr_fb_via0, (1.29,5.95)))
cfsr_fb.add(gdstk.Reference(cfsr_fb_via1, (1.29,1.29)))
cfsr_fb.add(gdstk.Reference(cfsr_fb_via2, (1.29,11.35)))
cfsr_fb.add(gdstk.Reference(cfsr_fb_via1, (1.29,13.37)))
cfsr_fb.add(gdstk.Reference(cfsr_fb_via0, (17.51,5.95)))
cfsr_fb.add(gdstk.Reference(cfsr_fb_via2, (17.51,11.35)))
cfsr_fb.add(gdstk.Reference(cfsr_fb_via1, (17.51,1.29)))
cfsr_fb.add(gdstk.Reference(cfsr_fb_via1, (17.51,13.37)))
cfsr_fb.add(gdstk.Reference(cfsr_fb_via2, (2.29,3.31)))
cfsr_fb.add(gdstk.Reference(cfsr_fb_via1, (2.29,2.29)))
cfsr_fb.add(gdstk.Reference(cfsr_fb_via0, (2.29,8.71)))
cfsr_fb.add(gdstk.Reference(cfsr_fb_via1, (2.29,12.37)))
cfsr_fb.add(gdstk.Reference(cfsr_fb_via0, (16.51,8.71)))
cfsr_fb.add(gdstk.Reference(cfsr_fb_via2, (16.51,3.31)))
cfsr_fb.add(gdstk.Reference(cfsr_fb_via1, (16.51,2.29)))
cfsr_fb.add(gdstk.Reference(cfsr_fb_via1, (16.51,12.37)))
cfsr_fb.add(gdstk.Label('Q0', (11.165,14.1825), layer=9, texttype=3))
cfsr_fb.add(gdstk.Label('Q1', (9.135,14.1825), layer=9, texttype=3))
cfsr_fb.add(gdstk.Label('Q2', (8.555,14.1825), layer=9, texttype=3))
cfsr_fb.add(gdstk.Label('Q3', (0.2875,7.395), layer=11, texttype=3))
cfsr_fb.add(gdstk.Label('Q4', (0.2875,7.395), layer=33, texttype=3))
cfsr_fb.add(gdstk.Label('Q5', (8.845,14.1825), layer=31, texttype=3))
cfsr_fb.add(gdstk.Label('Q6', (8.845,0.2875), layer=9, texttype=3))
cfsr_fb.add(gdstk.Label('Q7', (7.685,0.2875), layer=9, texttype=3))
cfsr_fb.add(gdstk.Label('FB', (10.585,0.2875), layer=9, texttype=3))
cfsr_fb.add(gdstk.Label('VDD', (9.4,2.29), layer=11, texttype=3))
cfsr_fb.add(gdstk.Label('GND', (9.4,13.37), layer=11, texttype=3))

lib.write_gds('CFSR_FB.gds')
